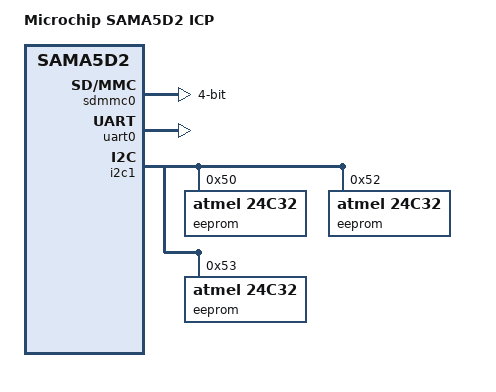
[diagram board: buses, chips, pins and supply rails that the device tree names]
// SPDX-License-Identifier: GPL-2.0+ OR MIT
/*
 * at91-sama5d2_icp.dts - Device Tree file for SAMA5D2 ICP board
 *			SAMA5D2 Industrial Connectivity Board
 *
 *  Copyright (c) 2018, Microchip Technology Inc.
 *                2018, Eugen Hristev <eugen.hristev@microchip.com>
 */
/dts-v1/;
#include "sama5d2.dtsi"
#include "sama5d2-pinfunc.h"

/ {
	model = "Microchip SAMA5D2 ICP";
	compatible = "atmel,sama5d2-icp", "atmel,sama5d27", "atmel,sama5d2", "atmel,sama5";

	aliases {
		serial0 = &uart0;
		i2c1	= &i2c1;
	};

	chosen {
		stdout-path = "serial0:115200n8";
	};

	ahb {

		sdmmc0: sdio-host@a0000000 {
			bus-width = <4>;
			pinctrl-names = "default";
			pinctrl-0 = <&pinctrl_sdmmc0_default>;
			status = "okay";
		};

		apb {
			uart0: serial@f801c000 { /* mikrobus1 uart */
				pinctrl-names = "default";
				pinctrl-0 = <&pinctrl_mikrobus1_uart>;
				status = "okay";
			};

			i2c1: i2c@fc028000 {
				dmas = <0>, <0>;
				pinctrl-names = "default";
				pinctrl-0 = <&pinctrl_i2c1_default>;
				status = "okay";

				eeprom@50 {
					compatible = "atmel,24c32";
					reg = <0x50>;
					pagesize = <16>;
				};

				eeprom@52 {
					compatible = "atmel,24c32";
					reg = <0x52>;
					pagesize = <16>;
				};

				eeprom@53 {
					compatible = "atmel,24c32";
					reg = <0x53>;
					pagesize = <16>;
				};
			};
			pioA: gpio@fc038000 {
				status = "okay";
				pinctrl {
					pinctrl_i2c1_default: i2c1_default {
						pinmux = <PIN_PD19__TWD1>,
							 <PIN_PD20__TWCK1>;
						bias-disable;
					};

					pinctrl_sdmmc0_default: sdmmc0_default {
						pinmux = <PIN_PA1__SDMMC0_CMD>,
							 <PIN_PA2__SDMMC0_DAT0>,
							 <PIN_PA3__SDMMC0_DAT1>,
							 <PIN_PA4__SDMMC0_DAT2>,
							 <PIN_PA5__SDMMC0_DAT3>,
							 <PIN_PA0__SDMMC0_CK>,
							 <PIN_PA13__SDMMC0_CD>;
						bias-disable;
					};

					pinctrl_mikrobus1_uart: mikrobus1_uart {
						pinmux = <PIN_PB26__URXD0>,
							 <PIN_PB27__UTXD0>;
						bias-disable;
					};
				};
			};
		};
	};
};
